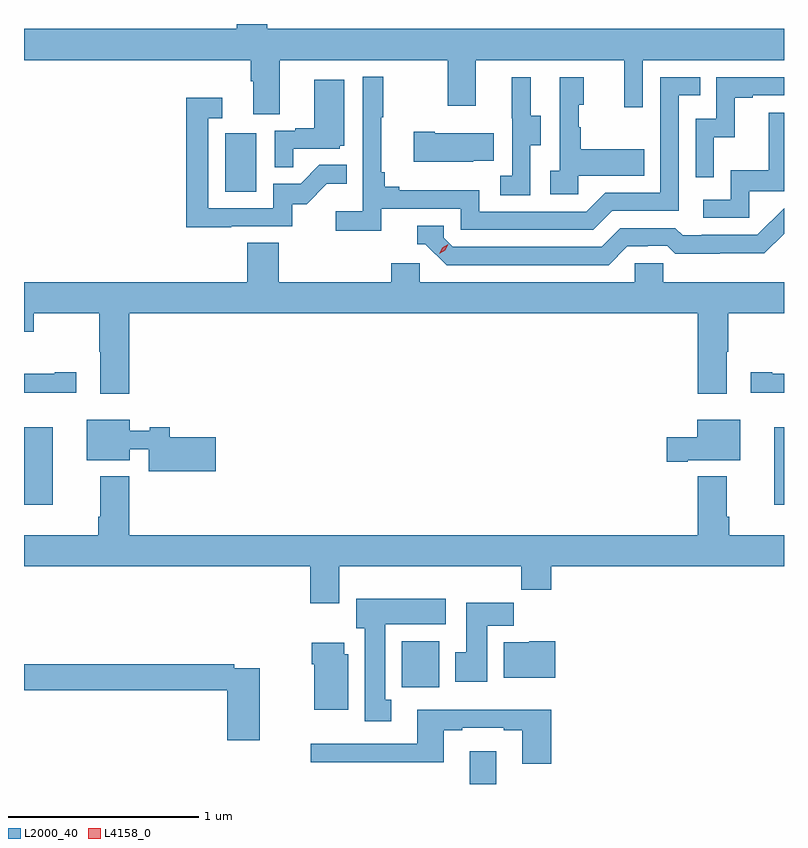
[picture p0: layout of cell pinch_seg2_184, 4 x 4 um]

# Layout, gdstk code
import gdstk
lib = gdstk.Library(unit=1e-6, precision=1e-09)
def R(c, l, rs):  # rectangles x0, y0, x1, y1
    for r in rs: c.add(gdstk.rectangle(r[:2], r[2:], *l))
def P(c, l, *ps):  # polygons
    for p in ps: c.add(gdstk.Polygon(p, *l))
L2000_40 = (2000, 40)
L4158_0 = (4158, 0)

pinch_seg2_184 = lib.new_cell('pinch_seg2_184')
R(pinch_seg2_184, L2000_40, [(1130.753,639.83,1130.893,640.003), (1130.396,640.34,1130.593,640.582), (1128.407,641.301,1128.559,641.707), (1132.355,641.301,1132.407,641.707), (1129.466,642.948,1129.63,643.255)])
P(pinch_seg2_184, L2000_40, [(1129.753,643.64),(1130.638,643.64),(1130.638,643.401),(1130.785,643.401),(1130.785,643.64),(1131.566,643.64),(1131.566,643.392),(1131.663,643.392),(1131.663,643.64),(1132.407,643.64),(1132.407,643.804),(1129.688,643.804),(1129.688,643.83),(1129.528,643.83),(1129.528,643.804),(1128.407,643.804),(1128.407,643.64),(1129.601,643.64),(1129.601,643.528),(1129.613,643.528),(1129.613,643.354),(1129.753,643.354)],
  [(1130.288,642.858),(1130.706,642.858),(1130.706,642.747),(1131.403,642.747),(1131.502,642.846),(1131.852,642.846),(1131.852,643.455),(1131.965,643.455),(1131.965,643.551),(1131.756,643.551),(1131.756,642.942),(1131.465,642.942),(1131.366,642.843),(1130.802,642.843),(1130.802,642.955),(1130.383,642.955),(1130.383,642.974),(1130.306,642.974),(1130.306,643.051),(1130.287,643.051),(1130.287,643.339),(1130.299,643.339),(1130.299,643.552),(1130.19,643.552),(1130.19,642.844),(1130.049,642.844),(1130.049,642.742),(1130.288,642.742)],
  [(1132.038,643.235),(1132.148,643.235),(1132.148,643.443),(1132.243,643.443),(1132.243,643.455),(1132.407,643.455),(1132.407,643.551),(1132.05,643.551),(1132.05,643.332),(1131.942,643.332),(1131.942,643.023),(1132.038,643.023)],
  [(1131.072,643.192),(1131.127,643.192),(1131.127,643.347),(1131.073,643.347),(1131.073,643.549),(1130.975,643.549),(1130.975,643.335),(1130.976,643.335),(1130.976,643.031),(1130.913,643.031),(1130.913,642.928),(1131.072,642.928)],
  [(1131.324,643.031),(1131.671,643.031),(1131.671,643.171),(1131.337,643.171),(1131.337,643.286),(1131.327,643.286),(1131.327,643.404),(1131.352,643.404),(1131.352,643.549),(1131.228,643.549),(1131.228,643.058),(1131.177,643.058),(1131.177,642.933),(1131.324,642.933)],
  [(1129.823,643.173),(1130.07,643.173),(1130.07,643.188),(1130.092,643.188),(1130.092,643.537),(1129.934,643.537),(1129.934,643.282),(1129.835,643.282),(1129.835,643.269),(1129.728,643.269),(1129.728,643.075),(1129.823,643.075)],
  [(1129.499,642.765),(1129.818,642.765),(1129.818,642.882),(1129.894,642.882),(1130.001,642.989),(1130.105,642.989),(1130.105,643.088),(1129.961,643.088),(1129.863,642.99),(1129.719,642.99),(1129.719,642.861),(1129.377,642.861),(1129.377,643.335),(1129.45,643.335),(1129.45,643.441),(1129.261,643.441),(1129.261,642.76),(1129.499,642.76)],
  [(1132.224,642.951),(1132.407,642.951),(1132.407,643.363),(1132.327,643.363),(1132.327,643.06),(1132.128,643.06),(1132.128,642.906),(1131.981,642.906),(1131.981,642.81),(1132.224,642.81)],
  [(1130.771,643.109),(1130.879,643.109),(1130.879,643.255),(1130.569,643.255),(1130.569,643.263),(1130.457,643.263),(1130.457,643.106),(1130.771,643.106)],
  [(1131.583,642.66),(1131.69,642.66),(1131.69,642.663),(1131.793,642.663),(1131.835,642.621),(1132.068,642.621),(1132.068,642.623),(1132.304,642.623),(1132.407,642.726),(1132.407,642.861),(1132.266,642.72),(1131.973,642.72),(1131.973,642.717),(1131.874,642.717),(1131.835,642.756),(1131.546,642.756),(1131.447,642.657),(1130.664,642.657),(1130.616,642.705),(1130.616,642.768),(1130.477,642.768),(1130.477,642.672),(1130.52,642.672),(1130.631,642.561),(1131.484,642.561)],
  [(1128.962,642.308),(1131.953,642.308),(1131.953,641.883),(1132.105,641.883),(1132.105,642.104),(1132.113,642.104),(1132.113,642.308),(1132.407,642.308),(1132.407,642.472),(1131.771,642.472),(1131.771,642.57),(1131.621,642.57),(1131.621,642.472),(1130.49,642.472),(1130.49,642.57),(1130.339,642.57),(1130.339,642.472),(1129.748,642.472),(1129.748,642.68),(1129.583,642.68),(1129.583,642.472),(1128.407,642.472),(1128.407,642.209),(1128.459,642.209),(1128.459,642.308),(1128.802,642.308),(1128.802,642.104),(1128.809,642.104),(1128.809,641.883),(1128.962,641.883)],
  [(1132.407,641.988),(1132.345,641.988),(1132.345,641.998),(1132.233,641.998),(1132.233,641.888),(1132.407,641.888)],
  [(1128.682,641.998),(1128.569,641.998),(1128.569,641.988),(1128.407,641.988),(1128.407,641.888),(1128.682,641.888)],
  [(1131.901,641.534),(1132.177,641.534),(1132.177,641.746),(1131.95,641.746),(1131.95,641.656),(1131.789,641.656),(1131.789,641.527),(1131.901,641.527)],
  [(1129.417,641.654),(1129.174,641.654),(1129.174,641.708),(1129.068,641.708),(1129.068,641.69),(1128.964,641.69),(1128.964,641.746),(1128.737,641.746),(1128.737,641.534),(1128.964,641.534),(1128.964,641.591),(1129.064,641.591),(1129.064,641.476),(1129.417,641.476)],
  [(1130.065,640.976),(1131.025,640.976),(1131.025,640.852),(1131.182,640.852),(1131.182,640.976),(1132.407,640.976),(1132.407,641.14),(1132.118,641.14),(1132.118,641.236),(1132.105,641.236),(1132.105,641.449),(1131.953,641.449),(1131.953,641.14),(1128.962,641.14),(1128.962,641.449),(1128.809,641.449),(1128.809,641.236),(1128.797,641.236),(1128.797,641.14),(1128.407,641.14),(1128.407,640.976),(1129.913,640.976),(1129.913,640.782),(1130.065,640.782)],
  [(1130.341,640.274),(1130.308,640.274),(1130.308,640.67),(1130.626,640.67),(1130.626,640.804),(1130.156,640.804),(1130.156,640.65),(1130.201,640.65),(1130.201,640.161),(1130.341,640.161)],
  [(1130.845,640.664),(1130.984,640.664),(1130.984,640.783),(1130.735,640.783),(1130.735,640.524),(1130.678,640.524),(1130.678,640.368),(1130.845,640.368)],
  [(1131.202,640.582),(1131.066,640.582),(1131.066,640.576),(1130.933,640.576),(1130.933,640.388),(1131.202,640.388)],
  [(1130.113,640.512),(1130.092,640.512),(1130.092,640.573),(1129.922,640.573),(1129.922,640.46),(1129.934,640.46),(1129.934,640.22),(1130.113,640.22)],
  [(1129.648,640.44),(1129.514,640.44),(1129.514,640.46),(1128.407,640.46),(1128.407,640.324),(1129.478,640.324),(1129.478,640.059),(1129.648,640.059)],
  [(1131.182,640.222),(1130.477,640.222),(1130.477,640.041),(1129.917,640.041),(1129.917,639.944),(1130.617,639.944),(1130.617,640.113),(1130.713,640.113),(1130.713,640.125),(1130.933,640.125),(1130.933,640.113),(1131.029,640.113),(1131.029,639.936),(1131.182,639.936)])
P(pinch_seg2_184, L4158_0, [(1130.592,642.62),(1130.592,642.62),(1130.608,642.652),(1130.639,642.671),(1130.639,642.671),(1130.639,642.671),(1130.623,642.639),(1130.592,642.62)])

lib.write_gds('pinch_seg2_184.gds')
